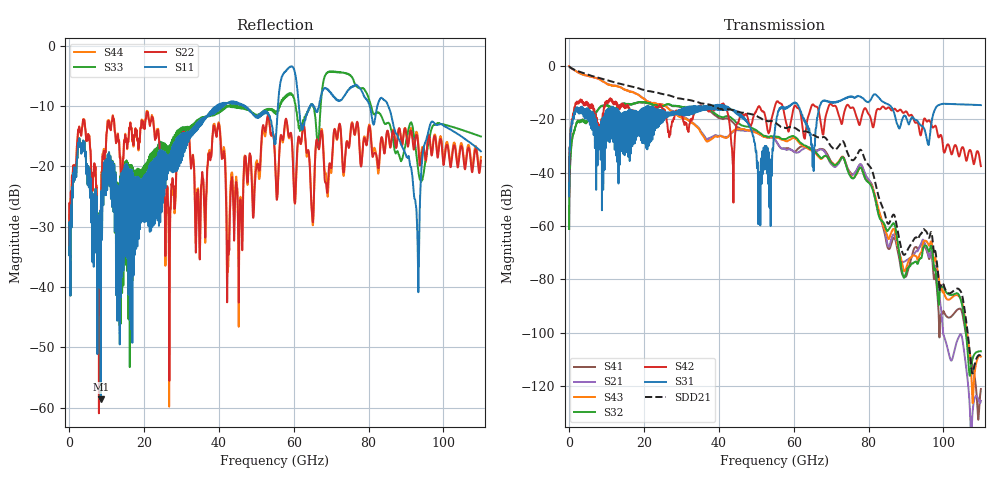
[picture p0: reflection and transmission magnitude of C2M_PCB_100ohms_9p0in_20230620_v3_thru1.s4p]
! Info: Touchstone file created by Circ.  Input file=C2M_PCB_100ohms_9p0in_20230620_v3.circ
# Hz S RI R 50
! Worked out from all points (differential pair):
!   11000 points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, 10 MHz to 110 GHz, reference 50 ohm
!   strongest paths, dB at 10 MHz, 27.51 GHz, 55.01 GHz, 82.51 GHz, 110 GHz:
!     S31: -48.9, -18.0, -23.4, -11.6, -14.7
!     S42: -48.8, -20.8, -15.1, -16.1, -37.6
!     S32: -61.1, -14.9, -26.5, -54.8, -106.9
!     S43: -0.2, -17.2, -26.9, -53.0, -108.9
!     S21: -0.1, -16.8, -27.6, -54.8, -125.5
!     S41: -61.1, -15.0, -27.6, -53.9, -121.1
!   taken as a pair (ports 3,1 in; 4,2 out), SDD21 dB: -0.1, -11.5, -21.2, -48.1, -109.0
!   lowest |S11| = -58.6 dB at 8.45 GHz (marker M1), VSWR 1.00, Z = 49.9 - j0.0932 ohm
!   |S11| at or under -10 dB: start of sweep to 39.21 GHz; 47.16 GHz to 55.79 GHz (8.629 GHz wide, 16.8 % of centre); 85.27 GHz to end of sweep (the widest 3 of 14)
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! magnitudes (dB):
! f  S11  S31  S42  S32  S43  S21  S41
! 10 MHz  -34.7  -48.9  -48.8  -61.1  -0.2  -0.1  -61.1
! 8.45 GHz  -58.6  -33.8  -24.1  -15.2  -5.3  -5.3  -15.2
! 42.42 GHz  -9.4  -16.4  -17.8  -18.9  -26.7  -26.5  -19.8
! 50.95 GHz  -11.8  -40.0  -15.5  -25.2  -25.6  -25.2  -25.7
! 77.91 GHz  -7.3  -11.6  -20.6  -38.1  -38.2  -36.8  -36.9
! 89.41 GHz  -17.4  -18.8  -17.6  -79.3  -76.7  -73.4  -78.8
! 110 GHz  -17.5  -14.7  -37.6  -106.9  -108.9  -125.5  -121.1
